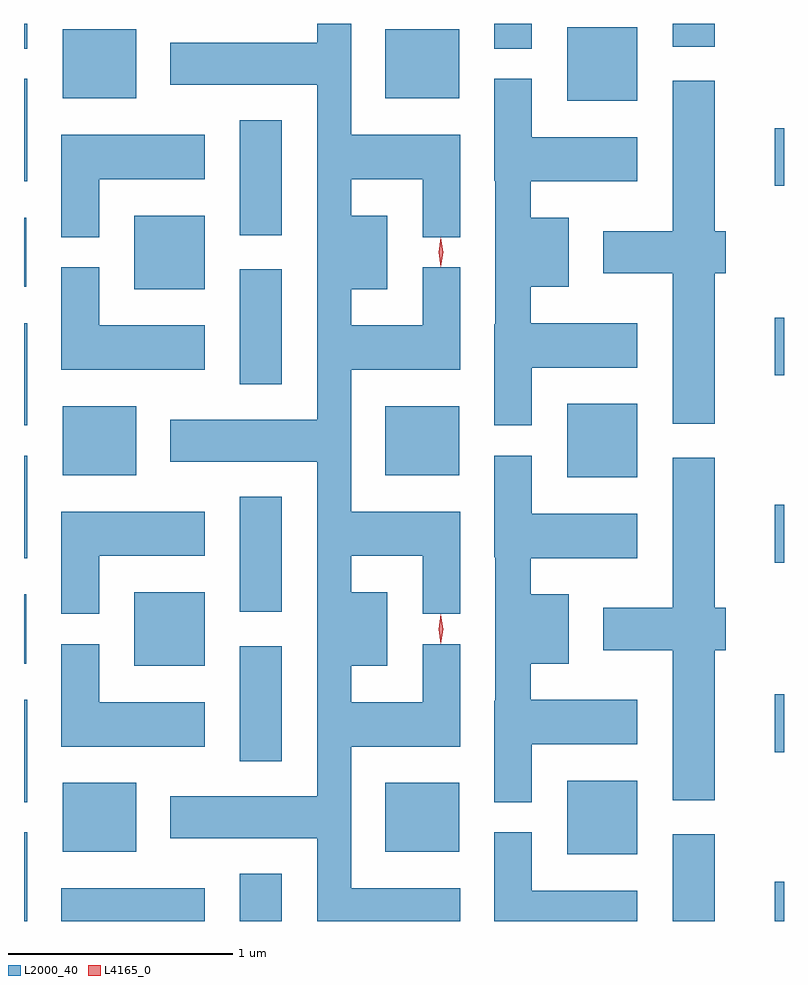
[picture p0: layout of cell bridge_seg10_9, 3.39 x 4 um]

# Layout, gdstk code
import gdstk
lib = gdstk.Library(unit=1e-6, precision=1e-09)
def R(c, l, rs):  # rectangles x0, y0, x1, y1
    for r in rs: c.add(gdstk.rectangle(r[:2], r[2:], *l))
def A(c, l, x, y, w, h, nx, ny, dx, dy):  # array of equal rectangles
    R(c, l, [(x+i*dx, y+j*dy, x+i*dx+w, y+j*dy+h) for i in range(nx) for j in range(ny)])
def P(c, l, *ps):  # polygons
    for p in ps: c.add(gdstk.Polygon(p, *l))
L2000_40 = (2000, 40)
L4165_0 = (4165, 0)

bridge_seg10_9 = lib.new_cell('bridge_seg10_9')
A(bridge_seg10_9, L2000_40, 1913.356, 2173.206, 0.313, 0.328, 1, 3, 0, 1.68)
A(bridge_seg10_9, L2000_40, 1911.106, 2173.216, 0.328, 0.308, 1, 3, 0, 1.68)
A(bridge_seg10_9, L2000_40, 1912.546, 2173.216, 0.328, 0.308, 1, 3, 0, 1.68)
R(bridge_seg10_9, L2000_40, [(1910.934,2172.908,1910.949,2173.303), (1911.101,2172.908,1911.739,2173.054), (1911.896,2172.908,1912.084,2173.119), (1913.826,2172.908,1914.014,2173.294), (1914.281,2172.908,1914.323,2173.084), (1910.934,2173.438,1910.949,2173.894), (1911.896,2173.621,1912.084,2174.134), (1914.281,2173.661,1914.323,2173.919), (1911.426,2174.046,1911.739,2174.374), (1910.934,2174.056,1910.944,2174.364), (1911.896,2174.286,1912.084,2174.799), (1914.281,2174.506,1914.323,2174.764), (1910.934,2174.526,1910.949,2174.983), (1910.934,2175.118,1910.949,2175.574), (1911.896,2175.301,1912.084,2175.814), (1914.281,2175.341,1914.323,2175.599), (1911.426,2175.726,1911.739,2176.054), (1910.934,2175.736,1910.944,2176.044), (1911.896,2175.966,1912.084,2176.479), (1914.281,2176.186,1914.323,2176.444), (1910.934,2176.206,1910.949,2176.663), (1910.934,2176.798,1910.949,2176.908), (1913.031,2176.798,1913.199,2176.908), (1913.826,2176.806,1914.014,2176.908)])
P(bridge_seg10_9, L2000_40, [(1912.879,2173.054),(1912.394,2173.054),(1912.394,2173.686),(1912.879,2173.686),(1912.879,2174.143),(1912.711,2174.143),(1912.711,2173.884),(1912.394,2173.884),(1912.394,2174.046),(1912.554,2174.046),(1912.554,2174.374),(1912.394,2174.374),(1912.394,2174.536),(1912.711,2174.536),(1912.711,2174.278),(1912.879,2174.278),(1912.879,2174.734),(1912.394,2174.734),(1912.394,2175.366),(1912.879,2175.366),(1912.879,2175.823),(1912.711,2175.823),(1912.711,2175.564),(1912.394,2175.564),(1912.394,2175.726),(1912.554,2175.726),(1912.554,2176.054),(1912.394,2176.054),(1912.394,2176.216),(1912.711,2176.216),(1912.711,2175.958),(1912.879,2175.958),(1912.879,2176.414),(1912.394,2176.414),(1912.394,2176.908),(1912.241,2176.908),(1912.241,2176.824),(1911.586,2176.824),(1911.586,2176.636),(1912.241,2176.636),(1912.241,2175.144),(1911.586,2175.144),(1911.586,2174.956),(1912.241,2174.956),(1912.241,2173.464),(1911.586,2173.464),(1911.586,2173.276),(1912.241,2173.276),(1912.241,2172.908),(1912.879,2172.908)],
  [(1913.199,2175.376),(1913.669,2175.376),(1913.669,2175.574),(1913.194,2175.574),(1913.194,2175.736),(1913.364,2175.736),(1913.364,2176.044),(1913.194,2176.044),(1913.194,2176.206),(1913.669,2176.206),(1913.669,2176.404),(1913.199,2176.404),(1913.199,2176.663),(1913.031,2176.663),(1913.031,2176.21),(1913.036,2176.21),(1913.036,2175.57),(1913.031,2175.57),(1913.031,2175.118),(1913.199,2175.118)],
  [(1914.014,2175.796),(1914.064,2175.796),(1914.064,2175.984),(1914.014,2175.984),(1914.014,2176.654),(1913.826,2176.654),(1913.826,2175.984),(1913.516,2175.984),(1913.516,2175.796),(1913.826,2175.796),(1913.826,2175.126),(1914.014,2175.126)],
  [(1911.269,2176.216),(1911.739,2176.216),(1911.739,2176.414),(1911.101,2176.414),(1911.101,2175.958),(1911.269,2175.958)],
  [(1911.739,2175.564),(1911.269,2175.564),(1911.269,2175.823),(1911.101,2175.823),(1911.101,2175.366),(1911.739,2175.366)],
  [(1913.199,2173.696),(1913.669,2173.696),(1913.669,2173.894),(1913.194,2173.894),(1913.194,2174.056),(1913.364,2174.056),(1913.364,2174.364),(1913.194,2174.364),(1913.194,2174.526),(1913.669,2174.526),(1913.669,2174.724),(1913.199,2174.724),(1913.199,2174.983),(1913.031,2174.983),(1913.031,2174.53),(1913.036,2174.53),(1913.036,2173.89),(1913.031,2173.89),(1913.031,2173.438),(1913.199,2173.438)],
  [(1914.014,2174.116),(1914.064,2174.116),(1914.064,2174.304),(1914.014,2174.304),(1914.014,2174.974),(1913.826,2174.974),(1913.826,2174.304),(1913.516,2174.304),(1913.516,2174.116),(1913.826,2174.116),(1913.826,2173.446),(1914.014,2173.446)],
  [(1911.269,2174.536),(1911.739,2174.536),(1911.739,2174.734),(1911.101,2174.734),(1911.101,2174.278),(1911.269,2174.278)],
  [(1911.739,2173.884),(1911.269,2173.884),(1911.269,2174.143),(1911.101,2174.143),(1911.101,2173.686),(1911.739,2173.686)],
  [(1913.669,2173.044),(1913.199,2173.044),(1913.199,2173.303),(1913.031,2173.303),(1913.031,2172.908),(1913.669,2172.908)])
P(bridge_seg10_9, L4165_0, [(1912.793,2174.144),(1912.792,2174.145),(1912.783,2174.21),(1912.792,2174.275),(1912.793,2174.276),(1912.793,2174.275),(1912.803,2174.21),(1912.793,2174.145)],
  [(1912.793,2175.824),(1912.792,2175.825),(1912.783,2175.89),(1912.792,2175.955),(1912.793,2175.956),(1912.793,2175.955),(1912.803,2175.89),(1912.793,2175.825)])

lib.write_gds('bridge_seg10_9.gds')
